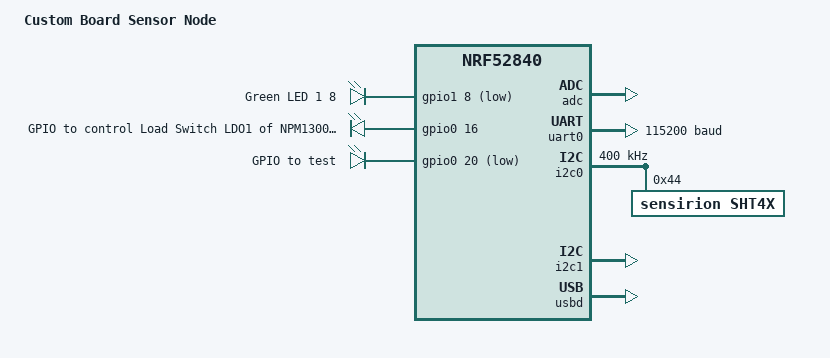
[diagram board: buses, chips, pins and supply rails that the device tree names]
/*
 * Copyright (c) 2024 Reisch Paul
 *
 * SPDX-License-Identifier: Apache-2.0
 */

/dts-v1/;
#include <nordic/nrf52840_qiaa.dtsi>
#include <nordic/nrf52840_partition.dtsi>
#include "sensor_node-pinctrl.dtsi"
#include <zephyr/dt-bindings/input/input-event-codes.h>
#include <dt-bindings/regulator/npm1300.h>

/ {
	model = "Custom Board Sensor Node";
	compatible = "others,sensor-node";
	chosen {
		zephyr,console = &uart0;
		zephyr,shell-uart = &uart0;
		zephyr,uart-mcumgr = &uart0;
		zephyr,bt-mon-uart = &uart0;
		zephyr,bt-c2h-uart = &uart0;
	};

	leds {
		compatible = "gpio-leds";
		led0: led_0 {
			gpios = <&gpio1 8 (GPIO_ACTIVE_LOW)>; //GPIO_ACTIVE_LOW
			label = "Green LED 1 8";
		};
		loadsw0: loadsw_0 {
			gpios = <&gpio0 16 (GPIO_ACTIVE_HIGH | GPIO_PULL_DOWN)>;
			label = "GPIO to control Load Switch LDO1 of NPM1300 (GPIO2)";
		};
		loadsw1: loadsw_1 {
			gpios = <&gpio0 20 (GPIO_ACTIVE_LOW)>;
			label = "GPIO to test";
		};
	};

	// loadsw {
	// 	compatible = "gpios-keys";

	// };

	/* These aliases are provided for compatibility with samples */
	aliases {
		led0 = &led0;
		bootloader-led0 = &led0;
		mcuboot-led0 = &led0;
		loadsw0 = &loadsw0;
		loadsw1 = &loadsw1;
	};
};


&reg0 {
	status = "disabled";
};

&reg1 {
	// regulator-initial-mode = <NRF5X_REG_MODE_DCDC>;
	status = "disabled";
};


&adc {
	status = "okay";
};

&uicr {
	gpio-as-nreset;
};

&gpiote {
	status = "okay";
};

&gpio0 {
	status = "okay";
};

&gpio1 {
	status = "okay";
};

&uart0 {
	compatible = "nordic,nrf-uarte";
	status = "okay";
	current-speed = <115200>;
	pinctrl-0 = <&uart0_default>;
	pinctrl-1 = <&uart0_sleep>;
	pinctrl-names = "default", "sleep";
};

&i2c0 {
	compatible = "nordic,nrf-twi";
	status = "okay";
	/* Arduino compatible PINs */
	pinctrl-0 = <&i2c0_default>;
	pinctrl-1 = <&i2c0_sleep>;
	pinctrl-names = "default", "sleep";
};

&i2c1 {
	compatible = "nordic,nrf-twi";
	status = "disabled";
	/* Arduino compatible PINs */
	pinctrl-0 = <&i2c1_default>;
	pinctrl-1 = <&i2c1_sleep>;
	pinctrl-names = "default", "sleep";
};

zephyr_udc0: &usbd {
	compatible = "nordic,nrf-usbd";
	status = "okay";
	usb_cdc_acm_uart: cdc-acm-uart {
		compatible = "zephyr,cdc-acm-uart";
	};
};





// NPM1300

arduino_i2c: &i2c1 {
	compatible = "nordic,nrf-twi";
	status = "okay";
	pinctrl-0 = <&i2c1_default>;
	pinctrl-1 = <&i2c1_sleep>;
	pinctrl-names = "default", "sleep";
};

&arduino_i2c {
	npm1300_ek_pmic: pmic@6b {
		compatible = "nordic,npm1300";
		reg = <0x6b>;

		npm1300_ek_gpio: gpio-controller {
			compatible = "nordic,npm1300-gpio";
			gpio-controller;
			#gpio-cells = <2>;
			ngpios = <5>;
		};

		npm1300_ek_regulators: regulators {
			compatible = "nordic,npm1300-regulator";

			/* limits are set to min/max allowed values */
			npm1300_ek_buck1: BUCK1 {
				regulator-min-microvolt = <1000000>;
				regulator-max-microvolt = <3300000>;
			};

			npm1300_ek_buck2: BUCK2 {
				regulator-min-microvolt = <1000000>;
				regulator-max-microvolt = <3300000>;
			};

			npm1300_ek_ldo1: LDO1 {
				regulator-min-microvolt = <1000000>;
				regulator-max-microvolt = <3300000>;
			};

			npm1300_ek_ldo2: LDO2 {
				regulator-min-microvolt = <1000000>;
				regulator-max-microvolt = <3300000>;
			};
		};

		npm1300_ek_charger: charger {
			compatible = "nordic,npm1300-charger";
			term-microvolt = <4150000>;
			term-warm-microvolt = <4000000>;
			current-microamp = <150000>;
			dischg-limit-microamp = <1000000>;
			vbus-limit-microamp = <500000>;
			thermistor-ohms = <10000>;
			thermistor-beta = <3380>;
			charging-enable;
		};

		npm1300_ek_buttons: buttons {
			compatible = "gpio-keys";
			pmic_button0: pmic_button_0 {
				gpios = < &npm1300_ek_gpio 0 GPIO_ACTIVE_HIGH>;
				label = "Pmic button switch 0";
			zephyr,code = <INPUT_KEY_0>;
			};
		};

		npm1300_ek_leds: leds {
			compatible = "nordic,npm1300-led";
			nordic,led0-mode = "error";
			nordic,led1-mode = "charging";
			nordic,led2-mode = "host";
		};
	};
};




&npm1300_ek_regulators {
	dvs-gpios = <&gpio0 16 GPIO_ACTIVE_LOW>,
		    	<&gpio0 18 GPIO_ACTIVE_LOW>;
};

&npm1300_ek_buck1 {
	regulator-init-microvolt = <1800000>;
	// regulator-boot-off;
};

&npm1300_ek_buck2 {
	regulator-boot-off;
};

&npm1300_ek_ldo1 {
	regulator-boot-off;
	regulator-initial-mode = <NPM1300_LDSW_MODE_LDO>;
	enable-gpios = <&npm1300_ek_gpio 2 GPIO_ACTIVE_HIGH>;
};

&npm1300_ek_ldo2 {
	regulator-boot-off;
};

&npm1300_ek_pmic {
	host-int-gpios = <&gpio0 15 0>;
	pmic-int-pin = <3>;
};



&i2c0 {
	status = "okay";
	clock-frequency = <I2C_BITRATE_FAST>;
	sht4x@44 {
		status = "okay";
		compatible = "sensirion,sht4x";
		reg = <0x44>;
		repeatability = <2>;
		//zephyr,deferred-init;
	};
};
